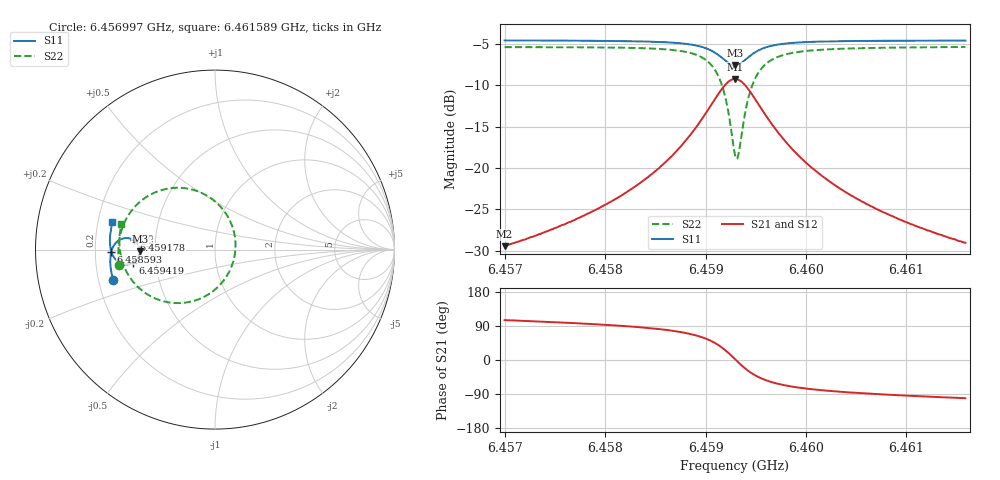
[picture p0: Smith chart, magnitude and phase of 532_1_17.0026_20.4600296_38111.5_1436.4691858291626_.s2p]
#  HZ  S  RI  R  50.00
! Rohde & Schwarz Vector Network Analyzer
! Rohde-Schwarz,ZNB20-2Port,1311601062101988,3.16
! Created: UTC 3/20/2024, 11:15:56 PM
! freq[Hz]  re:S11  im:S11  re:S21  im:S21  re:S12  im:S12  re:S22  im:S22
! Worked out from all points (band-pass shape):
!   401 points, 6.456997 GHz to 6.461589 GHz, reference 50 ohm
!   highest |S21| = -9.21 dB at 6.459293 GHz (marker M1); lowest = -29.5 dB at 6.456997 GHz (marker M2)
!   |S21| within 3 dB of the highest: 6.459064 GHz to 6.459523 GHz (459.5 kHz wide, 0.00711 % of centre)
!   lowest |S11| = -7.6 dB at 6.459293 GHz (marker M3), VSWR 2.44, Z = 20.5 - j0.462 ohm
!   |S11| at or under -10 dB: nowhere
!   |S22| runs from -18.9 to -5.3 dB; largest |S21 - S12| = 0.014
!   S11 on the Smith chart (normalised r, x): 6.456997 GHz: 0.26, -0.14; 6.458593 GHz: 0.27, -0.01; 6.459178 GHz: 0.37, +0.05; 6.459419 GHz: 0.37, -0.07; 6.461589 GHz: 0.26, +0.12
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6.4569968e9  -0.5671 -0.1708  -0.00882 0.0325  -0.00714 0.0325  -0.5331 -0.0831
6.457766e9  -0.5809 -0.1034  -0.0055 0.0505  -0.00284 0.0499  -0.5382 0.00708
6.4581908e9  -0.5838 -0.0608  0.000479 0.0701  0.00377 0.0687  -0.5299 0.0746
6.4585352e9  -0.5798 -0.0196  0.0145 0.0988  0.0184 0.0962  -0.504 0.1524
6.4585926e9  -0.578 -0.0117  0.0187 0.1058  0.023 0.1027  -0.4959 0.169
6.4587992e9  -0.5648 0.0204  0.0466 0.1382  0.0506 0.1332  -0.4438 0.2416
6.4589485e9  -0.5422 0.0467  0.0919 0.1687  0.0952 0.1619  -0.3601 0.3062
6.4590863e9  -0.4983 0.0641  0.1792 0.185  0.1802 0.1777  -0.2002 0.3445
6.4591781e9  -0.4537 0.0538  0.2692 0.1537  0.2695 0.1478  -0.0335 0.2938
6.459247e9  -0.4247 0.0218  0.3298 0.0818  0.332 0.0762  0.0822 0.1637
6.4592929e9  -0.4179 -0.00929  0.346 0.0134  0.3499 0.00655  0.1144 0.0362
6.4593044e9  -0.4182 -0.0174  0.3459 -0.00427  0.3498 -0.0119  0.1139 0.00256
6.4593273e9  -0.4217 -0.033  0.3401 -0.0389  0.3443 -0.0482  0.1027 -0.0636
6.4593733e9  -0.4373 -0.0592  0.3116 -0.099  0.3138 -0.1111  0.0446 -0.177
6.4594192e9  -0.4594 -0.0755  0.2694 -0.1402  0.2686 -0.1535  -0.0409 -0.2522
6.459511e9  -0.5028 -0.0823  0.1843 -0.1713  0.1781 -0.1829  -0.2106 -0.2981
6.4596603e9  -0.5468 -0.0618  0.0962 -0.1572  0.0876 -0.1634  -0.3788 -0.248
6.459821e9  -0.5683 -0.034  0.0513 -0.1292  0.0435 -0.1319  -0.4593 -0.1754
6.4600621e9  -0.581 0.00147  0.0222 -0.0974  0.0163 -0.098  -0.5071 -0.0927
6.4604065e9  -0.5855 0.0424  0.00615 -0.0706  0.00218 -0.0701  -0.5286 -0.0133
6.4608313e9  -0.5835 0.0853  -0.00158 -0.052  -0.00435 -0.0511  -0.5327 0.055
6.461589e9  -0.5713 0.1523  -0.00666 -0.0346  -0.00832 -0.0337  -0.5211 0.1449
